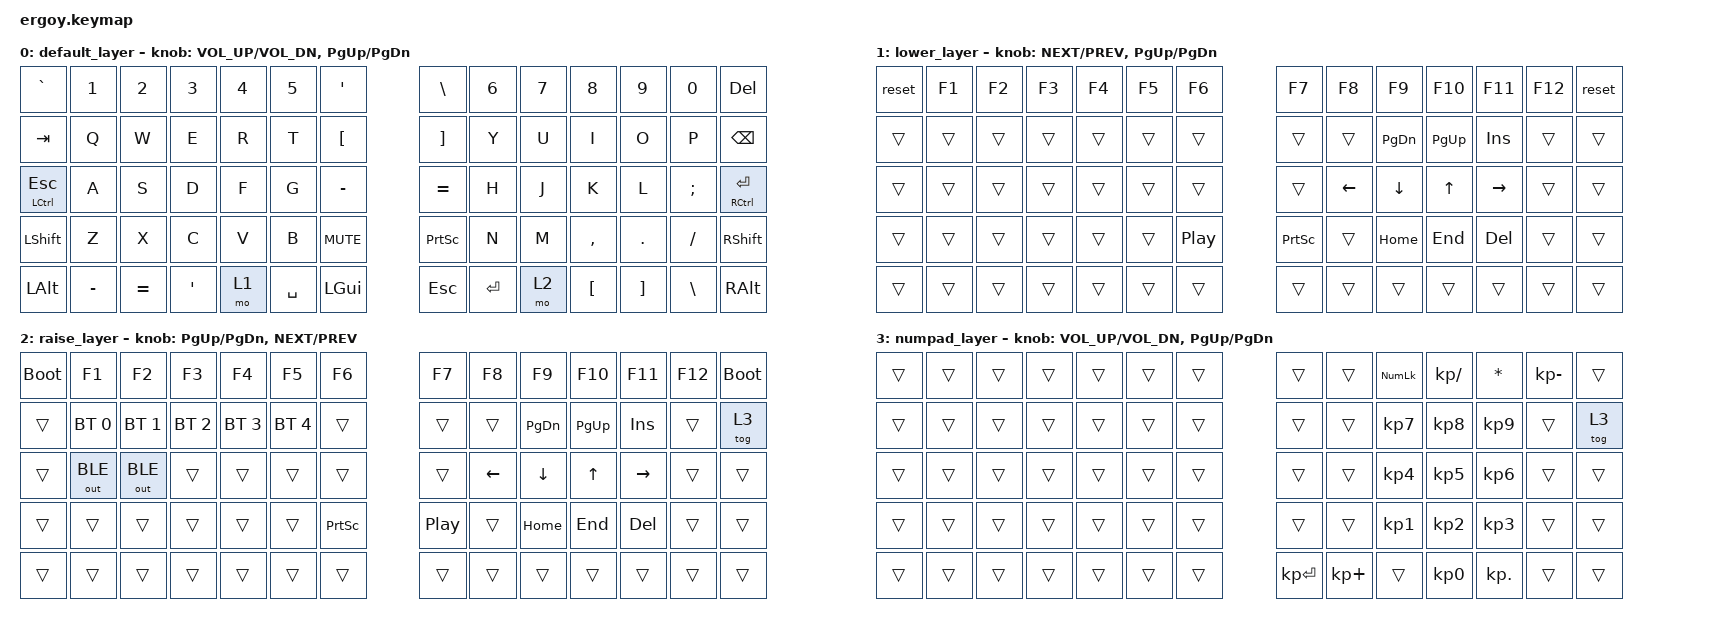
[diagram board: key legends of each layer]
/*
 * Copyright (c) 2020 The ZMK Contributors
 *
 * SPDX-License-Identifier: MIT
 */

#include <behaviors.dtsi>
#include <dt-bindings/zmk/keys.h>
#include <dt-bindings/zmk/bt.h>
#include <dt-bindings/zmk/outputs.h>

/ {
    keymap {
        compatible = "zmk,keymap";

        default_layer {
            bindings = <
    &kp GRAVE     &kp N1     &kp N2            &kp N3  &kp N4     &kp N5  &kp SINGLE_QUOTE  &kp BACKSLASH     &kp N6  &kp N7     &kp N8    &kp N9    &kp N0          &kp DEL
      &kp TAB      &kp Q      &kp W             &kp E   &kp R      &kp T          &kp LBKT       &kp RBKT      &kp Y   &kp U      &kp I     &kp O     &kp P         &kp BSPC
&mt LCTRL ESC      &kp A      &kp S             &kp D   &kp F      &kp G         &kp MINUS      &kp EQUAL      &kp H   &kp J      &kp K     &kp L  &kp SEMI  &mt RCTRL ENTER
    &kp LSHFT      &kp Z      &kp X             &kp C   &kp V      &kp B        &kp C_MUTE      &kp PSCRN      &kp N   &kp M  &kp COMMA   &kp DOT  &kp FSLH       &kp RSHIFT
     &kp LALT  &kp MINUS  &kp EQUAL  &kp SINGLE_QUOTE   &mo 1  &kp SPACE          &kp LGUI        &kp ESC  &kp ENTER   &mo 2   &kp LBKT  &kp RBKT  &kp BSLH    &kp RIGHT_ALT
            >;

            sensor-bindings = <&inc_dec_kp C_VOL_UP C_VOL_DN &inc_dec_kp PG_UP PG_DN>;
        };

        lower_layer {
            bindings = <
&reset  &kp F1  &kp F2  &kp F3  &kp F4  &kp F5    &kp F6           &kp F7    &kp F8     &kp F9    &kp F10    &kp F11  &kp F12  &reset
&trans  &trans  &trans  &trans  &trans  &trans    &trans           &trans    &trans  &kp PG_DN  &kp PG_UP    &kp INS   &trans  &trans
&trans  &trans  &trans  &trans  &trans  &trans    &trans           &trans  &kp LEFT   &kp DOWN     &kp UP  &kp RIGHT   &trans  &trans
&trans  &trans  &trans  &trans  &trans  &trans  &kp C_PP  &kp PRINTSCREEN    &trans   &kp HOME    &kp END    &kp DEL   &trans  &trans
&trans  &trans  &trans  &trans  &trans  &trans    &trans           &trans    &trans     &trans     &trans     &trans   &trans  &trans
            >;

            sensor-bindings = <&inc_dec_kp C_NEXT C_PREV &inc_dec_kp PG_UP PG_DN>;
        };

        raise_layer {
            bindings = <
&bootloader        &kp F1        &kp F2        &kp F3        &kp F4        &kp F5           &kp F6    &kp F7    &kp F8     &kp F9    &kp F10    &kp F11  &kp F12  &bootloader
     &trans  &bt BT_SEL 0  &bt BT_SEL 1  &bt BT_SEL 2  &bt BT_SEL 3  &bt BT_SEL 4           &trans    &trans    &trans  &kp PG_DN  &kp PG_UP    &kp INS   &trans       &tog 3
     &trans  &out OUT_BLE  &out OUT_BLE        &trans        &trans        &trans           &trans    &trans  &kp LEFT   &kp DOWN     &kp UP  &kp RIGHT   &trans       &trans
     &trans        &trans        &trans        &trans        &trans        &trans  &kp PRINTSCREEN  &kp C_PP    &trans   &kp HOME    &kp END    &kp DEL   &trans       &trans
     &trans        &trans        &trans        &trans        &trans        &trans           &trans    &trans    &trans     &trans     &trans     &trans   &trans       &trans
            >;

            sensor-bindings = <&inc_dec_kp PG_UP PG_DN &inc_dec_kp C_NEXT C_PREV>;
        };

        numpad_layer {
            bindings = <
&trans  &trans  &trans  &trans  &trans  &trans  &trans        &trans       &trans  &kp KP_NUMLOCK  &kp KP_SLASH    &kp STAR  &kp KP_MINUS  &trans
&trans  &trans  &trans  &trans  &trans  &trans  &trans        &trans       &trans       &kp KP_N7     &kp KP_N8   &kp KP_N9        &trans  &tog 3
&trans  &trans  &trans  &trans  &trans  &trans  &trans        &trans       &trans       &kp KP_N4     &kp KP_N5   &kp KP_N6        &trans  &trans
&trans  &trans  &trans  &trans  &trans  &trans  &trans        &trans       &trans       &kp KP_N1     &kp KP_N2   &kp KP_N3        &trans  &trans
&trans  &trans  &trans  &trans  &trans  &trans  &trans  &kp KP_ENTER  &kp KP_PLUS          &trans     &kp KP_N0  &kp KP_DOT        &trans  &trans
            >;

            sensor-bindings = <&inc_dec_kp C_VOL_UP C_VOL_DN &inc_dec_kp PG_UP PG_DN>;
        };
    };
};
